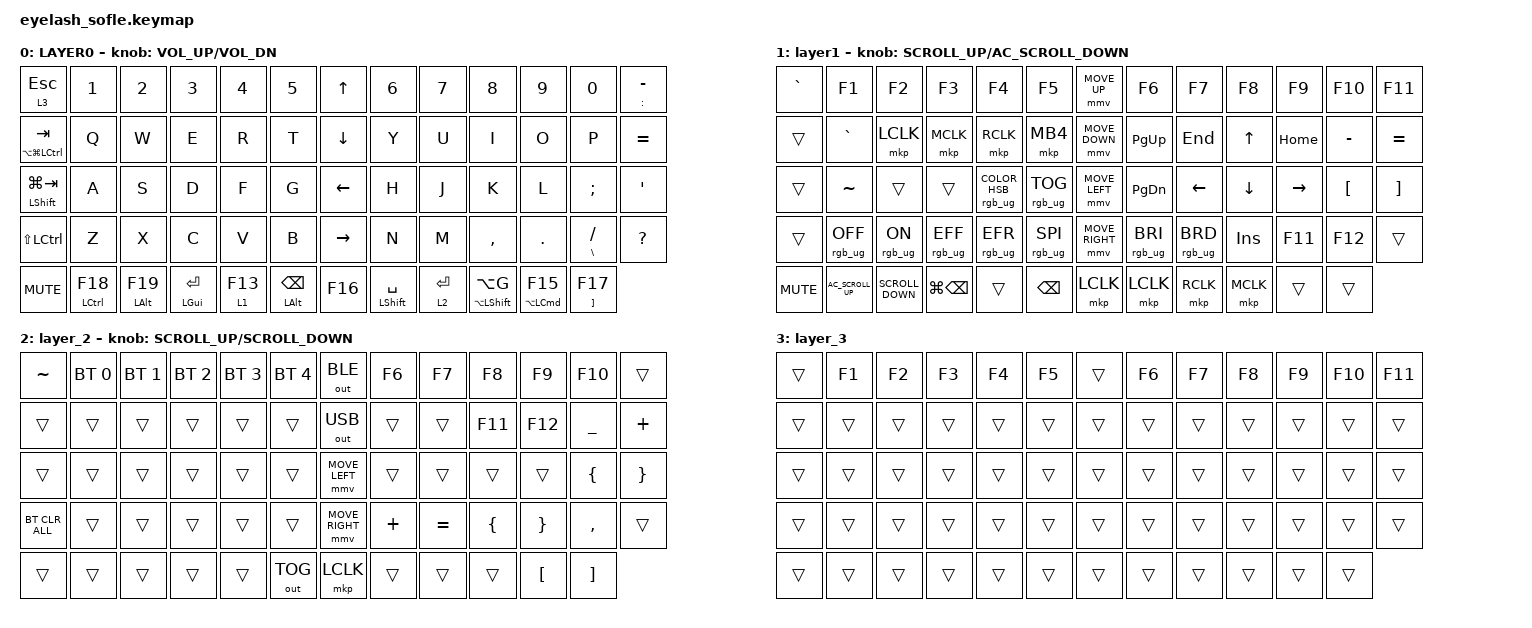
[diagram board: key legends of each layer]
#define ZMK_POINTING_DEFAULT_MOVE_VAL 1200  // 600
#define ZMK_POINTING_DEFAULT_SCRL_VAL 35    // 10

#include <input/processors.dtsi>
#include <zephyr/dt-bindings/input/input-event-codes.h>
#include <behaviors.dtsi>
#include <dt-bindings/zmk/bt.h>
#include <dt-bindings/zmk/keys.h>
#include <dt-bindings/zmk/outputs.h>
#include <dt-bindings/zmk/pointing.h>
#include <dt-bindings/zmk/rgb.h>

/ {
    zip_scroll_scaler: zip_scroll_scaler {
        compatible = "zmk,input-processor-scaler";
        #input-processor-cells = <2>;
        type = <INPUT_EV_REL>;
        codes = <INPUT_REL_WHEEL INPUT_REL_HWHEEL>;
        track-remainders;
    };
};

&mmv_input_listener { input-processors = <&zip_xy_scaler 2 1>; };

&msc_input_listener { input-processors = <&zip_scroll_scaler 2 1>; };

&msc {
    acceleration-exponent = <0>;      // 0
    time-to-max-speed-ms = <0>;       // 300
    delay-ms = <0>;                   // 0
};

&mmv {
    time-to-max-speed-ms = <400>;
    acceleration-exponent = <1>;
};

/ {
    scroll_encoder: scroll_encoder {
        compatible = "zmk,behavior-sensor-rotate";
        #sensor-binding-cells = <0>;
        bindings = <&msc SCRL_DOWN>, <&msc SCRL_UP>;

        tap-ms = <30>;
    };

    tapprefer: tapprefer {
        compatible = "zmk,behavior-hold-tap";
        label = "TAPPREFER";
        bindings = <&kp>, <&kp>;

        #binding-cells = <2>;
        tapping-term-ms = <250>;
        quick-tap-ms = <175>;
        flavor = "tap-preferred";
    };

    macros {
        shift_MB3: shift_MB3 {
            compatible = "zmk,behavior-macro";
            #binding-cells = <0>;
            bindings =
                <&macro_press>,
                <&kp LEFT_SHIFT>,
                <&macro_press>,
                <&mkp MB3>,
                <&macro_pause_for_release>,
                <&macro_release>,
                <&mkp MB3 &kp LEFT_SHIFT>;

            label = "SHIFT_MB3";
        };
    };

    behaviors {
    };

    keymap {
        compatible = "zmk,keymap";

        layer0 {
            bindings = <
&lt 3 ESCAPE                         &kp N1                &kp N2            &kp N3              &kp N4     &kp N5                    &kp UP_ARROW     &kp N6                       &kp N7     &kp N8                    &kp N9                    &kp N0                 &mt COLON MINUS
&tapprefer LA(LG(LEFT_CONTROL)) TAB  &kp Q                 &kp W             &kp E               &kp R      &kp T                     &kp DOWN_ARROW   &kp Y                        &kp U      &kp I                     &kp O                     &kp P                  &kp EQUAL
&mt LEFT_SHIFT LG(TAB)               &kp A                 &kp S             &kp D               &kp F      &kp G                     &kp LEFT_ARROW   &kp H                        &kp J      &kp K                     &kp L                     &kp SEMI               &kp APOS
&kp LS(LEFT_CONTROL)                 &kp Z                 &kp X             &kp C               &kp V      &kp B                     &kp RIGHT_ARROW  &kp N                        &kp M      &kp COMMA                 &kp DOT                   &mt BACKSLASH SLASH    &kp QUESTION
&kp C_MUTE                           &mt LEFT_CONTROL F18  &mt LEFT_ALT F19  &mt LEFT_GUI ENTER  &lt 1 F13  &mt LEFT_ALT BACKSPACE    &kp F16          &tapprefer LEFT_SHIFT SPACE  &lt 2 RET  &mt LA(LEFT_SHIFT) LA(G)  &mt LA(LEFT_COMMAND) F15  &mt RIGHT_BRACKET F17
            >;

            sensor-bindings = <&inc_dec_kp C_VOLUME_UP C_VOL_DN>;
            display-name = "LAYER0";
        };

        layer_1 {
            bindings = <
&kp GRAVE   &kp F1              &kp F2             &kp F3             &kp F4                          &kp F5             &mmv MOVE_UP     &kp F6           &kp F7           &kp F8      &kp F9     &kp F10           &kp F11
&trans      &kp GRAVE           &mkp LCLK          &mkp MCLK          &mkp RCLK                       &mkp MB4           &mmv MOVE_DOWN   &kp PG_UP        &kp END          &kp UP      &kp HOME   &kp MINUS         &kp EQUAL
&trans      &kp TILDE           &trans             &trans             &rgb_ug RGB_COLOR_HSB(136,0,0)  &rgb_ug RGB_TOG    &mmv MOVE_LEFT   &kp PG_DN        &kp LEFT         &kp DOWN    &kp RIGHT  &kp LEFT_BRACKET  &kp RIGHT_BRACKET
&trans      &rgb_ug RGB_OFF     &rgb_ug RGB_ON     &rgb_ug RGB_EFF    &rgb_ug RGB_EFR                 &rgb_ug RGB_SPI    &mmv MOVE_RIGHT  &rgb_ug RGB_BRI  &rgb_ug RGB_BRD  &kp INSERT  &kp F11    &kp F12           &trans
&kp C_MUTE  &kp C_AC_SCROLL_UP  &kp K_SCROLL_DOWN  &kp LG(BACKSPACE)  &trans                          &kp BACKSPACE      &mkp LCLK        &mkp LCLK        &mkp RCLK        &mkp MCLK   &trans     &trans
            >;

            display-name = "layer1";
            sensor-bindings = <&inc_dec_kp K_SCROLL_UP C_AC_SCROLL_DOWN>;
        };

        layer_2 {
            bindings = <
&kp TILDE       &bt BT_SEL 0  &bt BT_SEL 1  &bt BT_SEL 2  &bt BT_SEL 3  &bt BT_SEL 4    &out OUT_BLE     &kp F6    &kp F7     &kp F8          &kp F9            &kp F10            &trans
&trans          &trans        &trans        &trans        &trans        &trans          &out OUT_USB     &trans    &trans     &kp F11         &kp F12           &kp UNDER          &kp PLUS
&trans          &trans        &trans        &trans        &trans        &trans          &mmv MOVE_LEFT   &trans    &trans     &trans          &trans            &kp LBRC           &kp RBRC
&bt BT_CLR_ALL  &trans        &trans        &trans        &trans        &trans          &mmv MOVE_RIGHT  &kp PLUS  &kp EQUAL  &kp LEFT_BRACE  &kp RIGHT_BRACE   &kp COMMA          &trans
&trans          &trans        &trans        &trans        &trans        &out OUT_TOG    &mkp LCLK        &trans    &trans     &trans          &kp LEFT_BRACKET  &kp RIGHT_BRACKET
            >;

            sensor-bindings = <&inc_dec_kp K_SCROLL_UP K_SCROLL_DOWN>;
        };

        layer_3 {
            bindings = <
&trans  &kp F1  &kp F2  &kp F3  &kp F4  &kp F5    &trans  &kp F6  &kp F7  &kp F8  &kp F9  &kp F10  &kp F11
&trans  &trans  &trans  &trans  &trans  &trans    &trans  &trans  &trans  &trans  &trans  &trans   &trans
&trans  &trans  &trans  &trans  &trans  &trans    &trans  &trans  &trans  &trans  &trans  &trans   &trans
&trans  &trans  &trans  &trans  &trans  &trans    &trans  &trans  &trans  &trans  &trans  &trans   &trans
&trans  &trans  &trans  &trans  &trans  &trans    &trans  &trans  &trans  &trans  &trans  &trans
            >;
        };
    };
};
